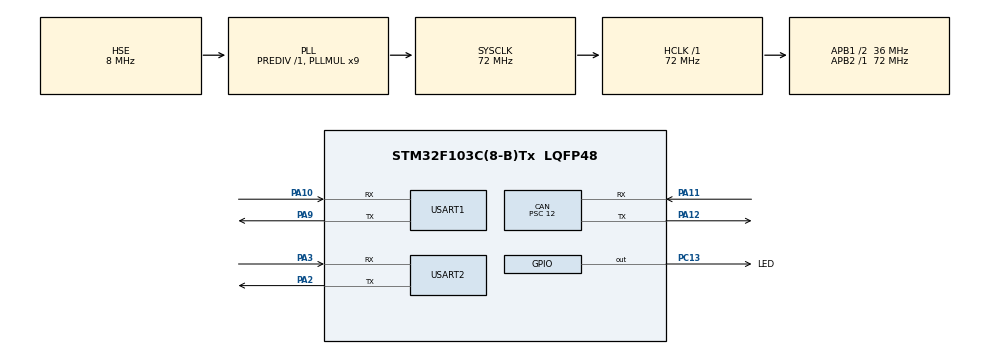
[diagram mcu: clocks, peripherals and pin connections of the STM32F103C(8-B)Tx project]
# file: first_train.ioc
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CAN.BS1=CAN_BS1_3TQ
CAN.BS2=CAN_BS2_2TQ
CAN.CalculateBaudRate=499999
CAN.CalculateTimeBit=2000
CAN.CalculateTimeQuantum=333.33333333333337
CAN.Mode=CAN_MODE_LOOPBACK
CAN.Prescaler=12
Dma.Request0=USART2_RX
Dma.USART2_RX.0.Direction=DMA_PERIPH_TO_MEMORY
Dma.USART2_RX.0.Instance=DMA1_Channel6
Dma.USART2_RX.0.MemDataAlignment=DMA_MDATAALIGN_BYTE
Dma.USART2_RX.0.MemInc=DMA_MINC_ENABLE
Dma.USART2_RX.0.Mode=DMA_NORMAL
Dma.USART2_RX.0.PeriphDataAlignment=DMA_PDATAALIGN_BYTE
Dma.USART2_RX.0.PeriphInc=DMA_PINC_DISABLE
Dma.USART2_RX.0.Priority=DMA_PRIORITY_LOW
Mcu.Family=STM32F1
Mcu.Name=STM32F103C(8-B)Tx
Mcu.Package=LQFP48
NVIC.DMA1_Channel6_IRQn=true\:0\:0\:false\:false\:true\:false\:true\:true
NVIC.PriorityGroup=NVIC_PRIORITYGROUP_4
NVIC.TIM2_IRQn=true\:0\:0\:false\:false\:true\:true\:true\:true
NVIC.USART1_IRQn=true\:0\:0\:false\:false\:true\:true\:true\:true
NVIC.USART2_IRQn=true\:0\:0\:false\:false\:true\:true\:true\:true
NVIC.USB_LP_CAN1_RX0_IRQn=true\:0\:0\:false\:false\:true\:true\:true\:true
PA10.Mode=Asynchronous
PA10.Signal=USART1_RX
PA11.Mode=CAN_Activate
PA11.Signal=CAN_RX
PA12.Mode=CAN_Activate
PA12.Signal=CAN_TX
PA13.Mode=Serial_Wire
PA13.Signal=SYS_JTMS-SWDIO
PA14.Mode=Serial_Wire
PA14.Signal=SYS_JTCK-SWCLK
PA2.Mode=Asynchronous
PA2.Signal=USART2_TX
PA3.Mode=Asynchronous
PA3.Signal=USART2_RX
PA9.Mode=Asynchronous
PA9.Signal=USART1_TX
PC13-TAMPER-RTC.GPIO_Label=LED
PC13-TAMPER-RTC.Signal=GPIO_Output
PD0-OSC_IN.Mode=HSE-External-Oscillator
PD0-OSC_IN.Signal=RCC_OSC_IN
PD1-OSC_OUT.Mode=HSE-External-Oscillator
PD1-OSC_OUT.Signal=RCC_OSC_OUT
ProjectManager.HeapSize=0x200
ProjectManager.StackSize=0x400
ProjectManager.TargetToolchain=CMake
RCC.AHBFreq_Value=72000000
RCC.APB1CLKDivider=RCC_HCLK_DIV2
RCC.APB1Freq_Value=36000000
RCC.APB1TimFreq_Value=72000000
RCC.APB2Freq_Value=72000000
RCC.APB2TimFreq_Value=72000000
RCC.HCLKFreq_Value=72000000
RCC.PLLMUL=RCC_PLL_MUL9
RCC.PLLSourceVirtual=RCC_PLLSOURCE_HSE
RCC.SYSCLKFreq_VALUE=72000000
RCC.SYSCLKSource=RCC_SYSCLKSOURCE_PLLCLK
RCC.USBFreq_Value=72000000
TIM2.Period=999
TIM2.Prescaler=71
USART1.VirtualMode=VM_ASYNC
USART2.VirtualMode=VM_ASYNC
VP_TIM2_VS_ClockSourceINT.Mode=Internal
board=custom

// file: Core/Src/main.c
/* USER CODE BEGIN Header */
/**
  ******************************************************************************
  * @file           : main.c
  * @brief          : Main program body
  ******************************************************************************
  * @attention
  *
  * Copyright (c) 2025 STMicroelectronics.
  * All rights reserved.
  *
  * This software is licensed under terms that can be found in the LICENSE file
  * in the root directory of this software component.
  * If no LICENSE file comes with this software, it is provided AS-IS.
  *
  ******************************************************************************
  */
/* USER CODE END Header */
#include "main.h"
#include "can.h"
#include "dma.h"
#include "tim.h"
#include "usart.h"
#include "gpio.h"

/* USER CODE BEGIN Includes */
#include <math.h>
#include <stdbool.h>
/* USER CODE END Includes */

/* USER CODE BEGIN PTD */
struct UartCommData
{
    uint32_t tick;
    float value;
};
// 接收状态机状态枚举
typedef enum {
    STATE_WAIT_HEADER_1,
    STATE_WAIT_HEADER_2,
    STATE_WAIT_HEADER_3,
    STATE_RECEIVE_DATA
} ReceiveState;

struct CANCommData
{
    uint32_t tick;    // 4 字节
    float value1;     // (需要压缩)
    uint8_t value2;   // 1 字节
    bool flag1;       // (需要压缩)
    bool flag2;       // (需要压缩)
    bool flag3;       // (需要压缩)
    bool flag4;       // (需要压缩)
};
/* USER CODE END PTD */

/* USER CODE BEGIN PV */
volatile uint32_t tick = 0;
//LED
volatile uint8_t led_state = 0;

//UART
struct UartCommData uart_data_tx = {0};
struct UartCommData uart_data_rx = {0};

uint8_t uart_tx_buf[9];
uint8_t uart_rx_buf[1];

ReceiveState rx_state = STATE_WAIT_HEADER_1;
uint8_t rx_packet_buf[9];
uint8_t rx_data_idx = 0;

//CAN
CAN_TxHeaderTypeDef   TxHeader;
uint8_t               TxData[8];
uint32_t              TxMailbox;

CAN_FilterTypeDef     sFilterConfig;

struct CANCommData    can_tx_data;
struct CANCommData    can_rx_data;

/* USER CODE END PV */

void SystemClock_Config(void);
/* USER CODE BEGIN PFP */
void encode_uart_data(uint8_t* buffer, const struct UartCommData* data);
void decode_uart_byte(uint8_t byte);
void unpack_data(const uint8_t* buffer);
void encode_can_frame(const struct CANCommData* data, uint8_t* data_frame);
void decode_can_frame(const uint8_t* data_frame, struct CANCommData* data);
/* USER CODE END PFP */

int main(void)
{

  /* MCU Configuration--------------------------------------------------------*/

  /* Reset of all peripherals, Initializes the Flash interface and the Systick. */
  HAL_Init();

  /* Configure the system clock */
  SystemClock_Config();

  /* Initialize all configured peripherals */
  MX_GPIO_Init();
  MX_DMA_Init();
  MX_CAN_Init();
  MX_USART1_UART_Init();
  MX_TIM2_Init();
  MX_USART2_UART_Init();
  /* USER CODE BEGIN 2 */
  HAL_TIM_Base_Start_IT(&htim2);
  HAL_UART_Receive_DMA(&huart2, uart_rx_buf, 1);

  // --- CAN Filter Configuration ---
  sFilterConfig.FilterBank = 0;
  sFilterConfig.FilterMode = CAN_FILTERMODE_IDMASK;
  sFilterConfig.FilterScale = CAN_FILTERSCALE_32BIT;
  sFilterConfig.FilterIdHigh = 0x0000;
  sFilterConfig.FilterIdLow = 0x0000;
  sFilterConfig.FilterMaskIdHigh = 0x0000;
  sFilterConfig.FilterMaskIdLow = 0x0000;
  sFilterConfig.FilterFIFOAssignment = CAN_RX_FIFO0;
  sFilterConfig.FilterActivation = ENABLE;
  sFilterConfig.SlaveStartFilterBank = 14;

  if (HAL_CAN_ConfigFilter(&hcan, &sFilterConfig) != HAL_OK)
  {
    Error_Handler();
  }

  // --- Start CAN Service ---
  if (HAL_CAN_Start(&hcan) != HAL_OK)
  {
    Error_Handler();
  }

  // --- Activate CAN RX Notification ---
  if (HAL_CAN_ActivateNotification(&hcan, CAN_IT_RX_FIFO0_MSG_PENDING) != HAL_OK)
  {
    Error_Handler();
  }

  // --- CAN Tx Header Configuration ---
  TxHeader.StdId = 0x100; // 设置发送ID
  TxHeader.ExtId = 0x01;
  TxHeader.RTR = CAN_RTR_DATA;
  TxHeader.IDE = CAN_ID_STD;
  TxHeader.DLC = 8; // 数据长度为8字节
  TxHeader.TransmitGlobalTime = DISABLE;
  /* USER CODE END 2 */

  /* Infinite loop */
  while (1)
  {

  }
}

void SystemClock_Config(void)
{
  RCC_OscInitTypeDef RCC_OscInitStruct = {0};
  RCC_ClkInitTypeDef RCC_ClkInitStruct = {0};

  /** Initializes the RCC Oscillators according to the specified parameters
  * in the RCC_OscInitTypeDef structure.
  */
  RCC_OscInitStruct.OscillatorType = RCC_OSCILLATORTYPE_HSE;
  RCC_OscInitStruct.HSEState = RCC_HSE_ON;
  RCC_OscInitStruct.HSEPredivValue = RCC_HSE_PREDIV_DIV1;
  RCC_OscInitStruct.HSIState = RCC_HSI_ON;
  RCC_OscInitStruct.PLL.PLLState = RCC_PLL_ON;
  RCC_OscInitStruct.PLL.PLLSource = RCC_PLLSOURCE_HSE;
  RCC_OscInitStruct.PLL.PLLMUL = RCC_PLL_MUL9;
  if (HAL_RCC_OscConfig(&RCC_OscInitStruct) != HAL_OK)
  {
    Error_Handler();
  }

  /** Initializes the CPU, AHB and APB buses clocks
  */
  RCC_ClkInitStruct.ClockType = RCC_CLOCKTYPE_HCLK|RCC_CLOCKTYPE_SYSCLK
                              |RCC_CLOCKTYPE_PCLK1|RCC_CLOCKTYPE_PCLK2;
  RCC_ClkInitStruct.SYSCLKSource = RCC_SYSCLKSOURCE_PLLCLK;
  RCC_ClkInitStruct.AHBCLKDivider = RCC_SYSCLK_DIV1;
  RCC_ClkInitStruct.APB1CLKDivider = RCC_HCLK_DIV2;
  RCC_ClkInitStruct.APB2CLKDivider = RCC_HCLK_DIV1;

  if (HAL_RCC_ClockConfig(&RCC_ClkInitStruct, FLASH_LATENCY_2) != HAL_OK)
  {
    Error_Handler();
  }
}

/* USER CODE BEGIN 4 */
void HAL_CAN_RxFifo0MsgPendingCallback(CAN_HandleTypeDef *hcan)
{
  CAN_RxHeaderTypeDef RxHeader;
  uint8_t RxData[8];

  if (HAL_CAN_GetRxMessage(hcan, CAN_RX_FIFO0, &RxHeader, RxData) == HAL_OK)
  {
    if (RxHeader.StdId == 0x100)
    {
        decode_can_frame(RxData, &can_rx_data);
    }
  }
}

void HAL_TIM_PeriodElapsedCallback(TIM_HandleTypeDef *htim)
{
  if (htim->Instance == TIM2)
  {
    // 1. LED闪烁
    static uint32_t led_counter = 0;
    led_counter++;
    if (led_counter >= 500) // 周期为1000ms
    {
      HAL_GPIO_TogglePin(LED_GPIO_Port, LED_Pin);
      led_state = HAL_GPIO_ReadPin(LED_GPIO_Port, LED_Pin);
      led_counter = 0;
    }

    tick++;

    // 2. UART接收数据
    // 以1kHz频率更新待发送的数据
    uart_data_tx.tick = tick;
    uart_data_tx.value = sinf((float)tick / 1000.0f);
    //以10Hz频率发送数据
    if (tick % 100 == 0)
    {
      encode_uart_data(uart_tx_buf, &uart_data_tx);
      HAL_UART_Transmit_IT(&huart1, uart_tx_buf, 9);
    }

    // 3. CAN接收数据
    // 以1kHz频率更新待发送的数据
    can_tx_data.tick = tick;
    can_tx_data.value1 = cosf((float)tick / 1000.0f);
    can_tx_data.value2 = (uint8_t)(tick % 256);
    can_tx_data.flag1 = (tick % 200) < 100;
    can_tx_data.flag2 = (tick % 300) < 150;
    can_tx_data.flag3 = (tick % 400) < 200;
    can_tx_data.flag4 = (tick % 500) < 250;

    // 以20Hz频率发送数据
    if (tick % 100 == 0)
    {
      encode_can_frame(&can_tx_data, TxData);
      if (HAL_CAN_AddTxMessage(&hcan, &TxHeader, TxData, &TxMailbox) != HAL_OK)
      {
        Error_Handler();
      }
    }
  }
}

void HAL_UART_RxCpltCallback(UART_HandleTypeDef *huart)
{
    if (huart->Instance == USART2)
    {
        decode_uart_byte(uart_rx_buf[0]);

        HAL_UART_Receive_DMA(&huart2, uart_rx_buf, 1);
    }
}

/**
 * @brief  uart编码
 */
void encode_uart_data(uint8_t* buffer, const struct UartCommData* data)
{
    // 帧头
    buffer[0] = 0xAA;
    buffer[1] = 0xBB;
    buffer[2] = 0xCC;

    buffer[3] = (uint8_t)(data->tick >> 24);
    buffer[4] = (uint8_t)(data->tick >> 16);
    buffer[5] = (uint8_t)(data->tick >> 8);
    buffer[6] = (uint8_t)(data->tick);

    int16_t scaled_value = (int16_t)(data->value * 30000.0f);
    buffer[7] = (uint8_t)(scaled_value >> 8);
    buffer[8] = (uint8_t)(scaled_value);
}
/**
 * @brief  uart解码
 */
void unpack_data(const uint8_t* buffer)
{
    uart_data_rx.tick = ((uint32_t)buffer[3] << 24) |
                        ((uint32_t)buffer[4] << 16) |
                        ((uint32_t)buffer[5] << 8)  |
                        ((uint32_t)buffer[6]);
    // 合并2字节为 int16_t, 再转回 float value
    int16_t scaled_value = ((int16_t)buffer[7] << 8) | buffer[8];
    uart_data_rx.value = (float)scaled_value / 30000.0f;
}
/**
 * @brief  接收状态机
 */
void decode_uart_byte(uint8_t byte)
{
    switch (rx_state)
    {
        case STATE_WAIT_HEADER_1:
            if (byte == 0xAA) {
                rx_packet_buf[0] = byte;
                rx_state = STATE_WAIT_HEADER_2;
            }
            break;

        case STATE_WAIT_HEADER_2:
            if (byte == 0xBB) {
                rx_packet_buf[1] = byte;
                rx_state = STATE_WAIT_HEADER_3;
            } else {
                rx_state = STATE_WAIT_HEADER_1;
            }
            break;

        case STATE_WAIT_HEADER_3:
            if (byte == 0xCC) {
                rx_packet_buf[2] = byte;
                rx_data_idx = 3;
                rx_state = STATE_RECEIVE_DATA;
            } else {
                rx_state = STATE_WAIT_HEADER_1;
            }
            break;

        case STATE_RECEIVE_DATA:
            rx_packet_buf[rx_data_idx++] = byte;
            if (rx_data_idx >= 9) {
                unpack_data(rx_packet_buf);
                rx_state = STATE_WAIT_HEADER_1;
            }
            break;
    }
}

/**
  * @brief can编码
  */
void encode_can_frame(const struct CANCommData* data, uint8_t* data_frame)
{
    // 1. 打包 tick
    data_frame[0] = (uint8_t)(data->tick >> 24);
    data_frame[1] = (uint8_t)(data->tick >> 16);
    data_frame[2] = (uint8_t)(data->tick >> 8);
    data_frame[3] = (uint8_t)(data->tick);

    // 2. 打包 value1
    int16_t scaled_value1 = (int16_t)(data->value1 * 30000.0f);
    data_frame[4] = (uint8_t)(scaled_value1 >> 8);
    data_frame[5] = (uint8_t)(scaled_value1);

    // 3. 打包 value2
    data_frame[6] = data->value2;

    // 4. 将 4 个布尔值打包到 1 个字节中
    data_frame[7] = 0;
    if (data->flag1) data_frame[7] |= (1 << 0);
    if (data->flag2) data_frame[7] |= (1 << 1);
    if (data->flag3) data_frame[7] |= (1 << 2);
    if (data->flag4) data_frame[7] |= (1 << 3);
}

/**
  * @brief can解码
  */
void decode_can_frame(const uint8_t* data_frame, struct CANCommData* data)
{
    // 1. 解包 tick
    data->tick = ((uint32_t)data_frame[0] << 24) |
                 ((uint32_t)data_frame[1] << 16) |
                 ((uint32_t)data_frame[2] << 8)  |
                 ((uint32_t)data_frame[3]);

    // 2. 解包 value1
    int16_t scaled_value1 = ((int16_t)data_frame[4] << 8) | data_frame[5];
    data->value1 = (float)scaled_value1 / 30000.0f;

    // 3. 解包 value2
    data->value2 = data_frame[6];

    // 4. 从 1 个字节中解包 4 个布尔值
    data->flag1 = (data_frame[7] & (1 << 0)) ? true : false;
    data->flag2 = (data_frame[7] & (1 << 1)) ? true : false;
    data->flag3 = (data_frame[7] & (1 << 2)) ? true : false;
    data->flag4 = (data_frame[7] & (1 << 3)) ? true : false;
}
/* USER CODE END 4 */

void Error_Handler(void)
{
  __disable_irq();
  while (1)
  {
  }
}
